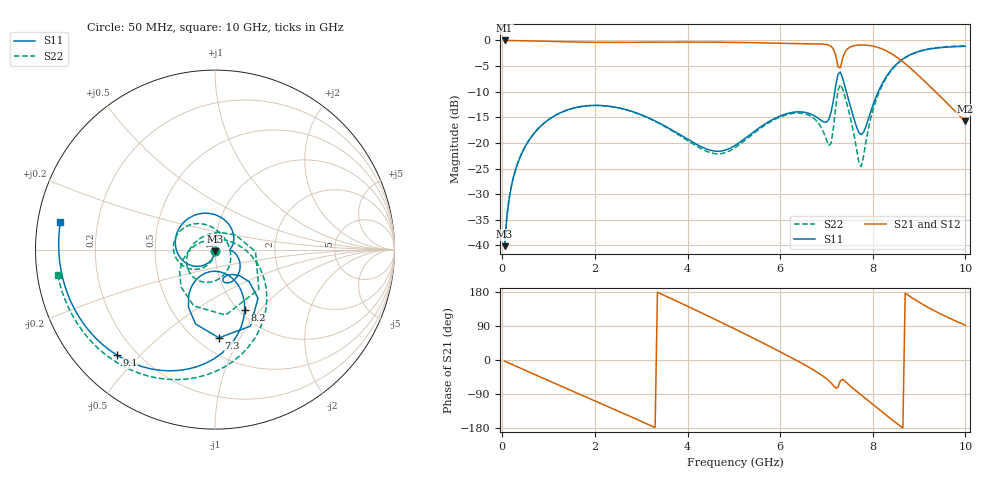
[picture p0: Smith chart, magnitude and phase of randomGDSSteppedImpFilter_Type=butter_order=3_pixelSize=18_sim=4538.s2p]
! freq	dB(S11)	phase(S11)	dB(S12)	phase(S12)
!  dB(S21)	phase(S21)	dB(S22)	phase(S22)
!S-par simulation data
#  GHz  S  DB  R 50
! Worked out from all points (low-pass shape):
!   200 points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, 50 MHz to 10 GHz, reference 50 ohm
!   highest |S21| = -0.01 dB at 50 MHz (marker M1); lowest = -15.8 dB at 10 GHz (marker M2)
!   |S21| within 3 dB of the highest: start of sweep to 7.202 GHz; 7.369 GHz to 8.476 GHz (1.107 GHz wide, 14 % of centre)
!   lowest |S11| = -40.1 dB at 50 MHz (marker M3), VSWR 1.02, Z = 50 - j0.983 ohm
!   |S11| at or under -10 dB: start of sweep to 7.18 GHz; 7.429 GHz to 8.119 GHz (690.1 MHz wide, 8.88 % of centre)
!   |S22| runs from -40.1 to -1.0 dB; largest |S21 - S12| = 0
!   S11 on the Smith chart (normalised r, x): 50 MHz: 1.00, -0.02; 7.3 GHz: 0.63, -0.82; 8.2 GHz: 1.06, -0.83; 9.1 GHz: 0.13, -0.43; 10 GHz: 0.07, +0.09
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0.05  -40.14 -92.0  -0.01 -2.8  -0.01 -2.8  -40.13 -91.4
0.2  -28.27 -102.2  -0.02 -11.1  -0.02 -11.1  -28.26 -100.0
0.5  -20.62 -120.7  -0.07 -27.5  -0.07 -27.5  -20.61 -115.3
1.15  -14.60 -159.7  -0.23 -62.6  -0.23 -62.6  -14.59 -146.9
1.75  -12.84 164.2  -0.34 -94.5  -0.34 -94.5  -12.83 -174.7
2.7  -13.58 104.5  -0.37 -145.4  -0.37 -145.4  -13.60 143.3
3.4  -16.16 57.7  -0.33 176.0  -0.33 176.0  -16.26 113.2
4.35  -20.96 5.4  -0.33 121.6  -0.33 121.6  -21.37 57.1
5.05  -20.35 -4.8  -0.38 80.2  -0.38 80.2  -20.78 -16.9
5.95  -14.93 -40.0  -0.55 24.8  -0.55 24.8  -15.13 -90.9
6.7  -14.52 -74.5  -0.66 -24.8  -0.66 -24.8  -15.01 -152.5
7.1  -14.02 -46.8  -1.16 -60.6  -1.16 -60.6  -20.11 79.0
7.25  -6.56 -65.2  -5.16 -72.0  -5.16 -72.0  -9.65 -42.1
7.3  -6.16 -87.5  -5.35 -54.8  -5.35 -54.8  -8.64 -80.8
7.45  -10.71 -120.2  -1.67 -61.6  -1.67 -61.6  -12.68 -148.2
7.75  -18.39 -90.1  -0.89 -92.4  -0.89 -92.4  -24.59 83.0
8.2  -8.48 -64.0  -1.65 -136.6  -1.65 -136.6  -8.82 -37.8
8.35  -6.31 -74.5  -2.30 -151.4  -2.30 -151.4  -6.49 -55.1
8.7  -3.33 -102.6  -4.53 176.4  -4.53 176.4  -3.37 -89.7
9.1  -1.91 -133.0  -7.79 145.3  -7.79 145.3  -1.87 -121.0
9.55  -1.34 -163.0  -11.75 116.5  -11.75 116.5  -1.25 -148.4
10  -1.16 169.8  -15.81 91.7  -15.81 91.7  -1.04 -170.8
